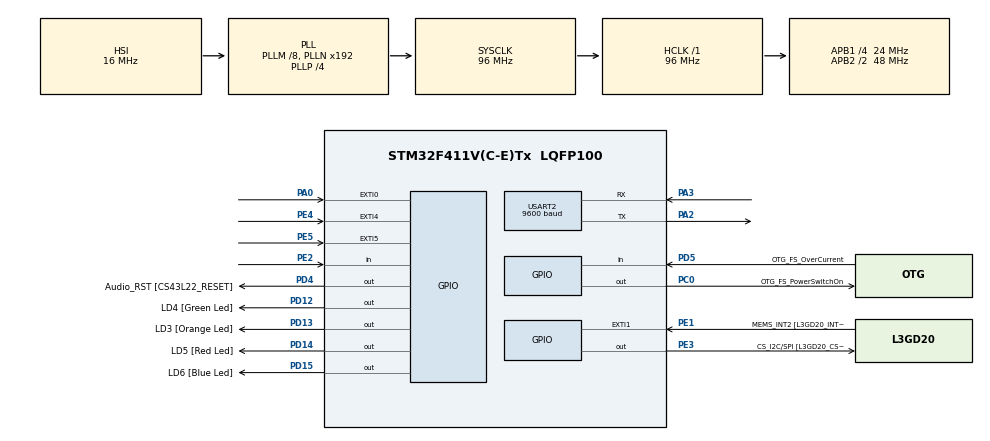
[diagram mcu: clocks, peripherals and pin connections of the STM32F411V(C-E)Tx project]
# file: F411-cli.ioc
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Mcu.Family=STM32F4
Mcu.Name=STM32F411V(C-E)Tx
Mcu.Package=LQFP100
NVIC.PriorityGroup=NVIC_PRIORITYGROUP_0
NVIC.USART2_IRQn=true\:0\:0\:false\:false\:true\:true\:true\:true
PA0-WKUP.GPIO_ModeDefaultEXTI=GPIO_MODE_EVT_RISING
PA0-WKUP.Signal=GPXTI0
PA10.GPIO_Label=OTG_FS_ID
PA10.Signal=USB_OTG_FS_ID
PA11.GPIO_Label=OTG_FS_DM
PA11.Signal=USB_OTG_FS_DM
PA12.GPIO_Label=OTG_FS_DP
PA12.Signal=USB_OTG_FS_DP
PA13.GPIO_Label=SWDIO
PA13.Signal=SYS_JTMS-SWDIO
PA14.GPIO_Label=SWCLK
PA14.Signal=SYS_JTCK-SWCLK
PA2.Mode=Asynchronous
PA2.Signal=USART2_TX
PA3.Mode=Asynchronous
PA3.Signal=USART2_RX
PA4.GPIO_Label=I2S3_WS [CS43L22_LRCK]
PA4.GPIO_Mode=GPIO_MODE_AF_PP
PA4.GPIO_PuPd=GPIO_NOPULL
PA4.GPIO_Speed=GPIO_SPEED_FREQ_LOW
PA4.Signal=I2S3_WS
PA5.GPIO_Label=SPI1_SCK [L3GD20_SC/SPC]
PA5.Signal=SPI1_SCK
PA6.GPIO_Label=SPI1_MISO [L3GD20_AS0/SDO]
PA6.Signal=SPI1_MISO
PA7.GPIO_Label=SPI1_MOSI [L3GD20_SDA/SDI/SDO]
PA7.Signal=SPI1_MOSI
PA9.GPIO_Label=VBUS_FS
PA9.Signal=USB_OTG_FS_VBUS
PB10.GPIO_Label=CLK_IN [MP45DT02_CLK]
PB10.Signal=I2S2_CK
PB12.Signal=I2S2_WS
PB3.GPIO_Label=SWO
PB3.Signal=SYS_JTDO-SWO
PB6.GPIO_Label=Audio_SCL [CS43L22_SCL]
PB6.GPIO_Mode=GPIO_MODE_AF_OD
PB6.GPIO_PuPd=GPIO_NOPULL
PB6.GPIO_Speed=GPIO_SPEED_FREQ_LOW
PB6.Signal=I2C1_SCL
PB9.GPIO_Label=Audio_SDA [CS43L22_SDA]
PB9.GPIO_Mode=GPIO_MODE_AF_OD
PB9.GPIO_PuPd=GPIO_NOPULL
PB9.GPIO_Speed=GPIO_SPEED_FREQ_LOW
PB9.Signal=I2C1_SDA
PC0.GPIO_Label=OTG_FS_PowerSwitchOn
PC0.PinState=GPIO_PIN_SET
PC0.Signal=GPIO_Output
PC10.GPIO_Label=I2S3_SCK [CS43L22_SCLK]
PC10.GPIO_Mode=GPIO_MODE_AF_PP
PC10.GPIO_PuPd=GPIO_NOPULL
PC10.GPIO_Speed=GPIO_SPEED_FREQ_LOW
PC10.Signal=I2S3_CK
PC12.GPIO_Label=I2S3_SD [CS43L22_SDIN]
PC12.GPIO_Mode=GPIO_MODE_AF_PP
PC12.GPIO_PuPd=GPIO_NOPULL
PC12.GPIO_Speed=GPIO_SPEED_FREQ_LOW
PC12.Signal=I2S3_SD
PC14-OSC32_IN.GPIO_Label=PC14-OSC32_IN
PC14-OSC32_IN.Signal=RCC_OSC32_IN
PC15-OSC32_OUT.GPIO_Label=PC15-OSC32_OUT
PC15-OSC32_OUT.Signal=RCC_OSC32_OUT
PC3.GPIO_Label=PDM_OUT [MP45DT02_DOUT]
PC3.Signal=I2S2_SD
PC7.GPIO_Label=I2S3_MCK [CS43L22_MCLK]
PC7.GPIO_Mode=GPIO_MODE_AF_PP
PC7.GPIO_PuPd=GPIO_NOPULL
PC7.GPIO_Speed=GPIO_SPEED_FREQ_LOW
PC7.Signal=I2S3_MCK
PD12.GPIO_Label=LD4 [Green Led]
PD12.GPIO_PuPd=GPIO_NOPULL
PD12.GPIO_Speed=GPIO_SPEED_FREQ_LOW
PD12.Signal=GPIO_Output
PD13.GPIO_Label=LD3 [Orange Led]
PD13.GPIO_PuPd=GPIO_NOPULL
PD13.GPIO_Speed=GPIO_SPEED_FREQ_LOW
PD13.Signal=GPIO_Output
PD14.GPIO_Label=LD5 [Red Led]
PD14.GPIO_PuPd=GPIO_NOPULL
PD14.GPIO_Speed=GPIO_SPEED_FREQ_LOW
PD14.Signal=GPIO_Output
PD15.GPIO_Label=LD6 [Blue Led]
PD15.GPIO_PuPd=GPIO_NOPULL
PD15.GPIO_Speed=GPIO_SPEED_FREQ_LOW
PD15.Signal=GPIO_Output
PD4.GPIO_Label=Audio_RST [CS43L22_RESET]
PD4.Signal=GPIO_Output
PD5.GPIO_Label=OTG_FS_OverCurrent
PD5.Signal=GPIO_Input
PE1.GPIO_Label=MEMS_INT2 [L3GD20_INT2]
PE1.GPIO_ModeDefaultEXTI=GPIO_MODE_EVT_RISING
PE1.Signal=GPXTI1
PE2.Signal=GPIO_Input
PE3.GPIO_Label=CS_I2C/SPI [L3GD20_CS_I2C/SPI]
PE3.Signal=GPIO_Output
PE4.GPIO_ModeDefaultEXTI=GPIO_MODE_EVT_RISING
PE4.Signal=GPXTI4
PE5.GPIO_ModeDefaultEXTI=GPIO_MODE_EVT_RISING
PE5.Signal=GPXTI5
PH0\ -\ OSC_IN.GPIO_Label=PH0-OSC_IN
PH0\ -\ OSC_IN.Signal=RCC_OSC_IN
PH1\ -\ OSC_OUT.GPIO_Label=PH1-OSC_OUT
PH1\ -\ OSC_OUT.Signal=RCC_OSC_OUT
ProjectManager.HeapSize=0x200
ProjectManager.StackSize=0x400
ProjectManager.TargetToolchain=STM32CubeIDE
RCC.48MHZClocksFreq_Value=48000000
RCC.AHBFreq_Value=96000000
RCC.APB1CLKDivider=RCC_HCLK_DIV4
RCC.APB1Freq_Value=24000000
RCC.APB1TimFreq_Value=48000000
RCC.APB2CLKDivider=RCC_HCLK_DIV2
RCC.APB2Freq_Value=48000000
RCC.APB2TimFreq_Value=96000000
RCC.CortexFreq_Value=96000000
RCC.HCLKFreq_Value=96000000
RCC.HSE_VALUE=8000000
RCC.HSI_VALUE=16000000
RCC.LSE_VALUE=32768
RCC.PLLI2SM=5
RCC.PLLI2SN=200
RCC.PLLM=8
RCC.PLLP=RCC_PLLP_DIV4
RCC.PLLQ=8
RCC.SYSCLKFreq_VALUE=96000000
RCC.SYSCLKSource=RCC_SYSCLKSOURCE_PLLCLK
RCC.VCOOutputFreq_Value=384000000
USART2.BaudRate=9600
USART2.VirtualMode=VM_ASYNC
board=STM32F411E-DISCO

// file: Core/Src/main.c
/* USER CODE BEGIN Header */
/**
  ******************************************************************************
  * @file           : main.c
  * @brief          : Main program body
  ******************************************************************************
  * @attention
  *
  * Copyright (c) 2022 STMicroelectronics.
  * All rights reserved.
  *
  * This software is licensed under terms that can be found in the LICENSE file
  * in the root directory of this software component.
  * If no LICENSE file comes with this software, it is provided AS-IS.
  *
  ******************************************************************************
  */
/* USER CODE END Header */
#include "main.h"
#include "usart.h"
#include "gpio.h"

/* USER CODE BEGIN Includes */
#include "input_buf.h"
#include "console.h"
#include <stdbool.h>
/* USER CODE END Includes */

/* USER CODE BEGIN PV */
uint8_t uart_byte_buf[1];
input_buf uart_buf;
char c;
bool echo;
char buf[20];
extern char mReceiveBuffer[256]; // should be CONSOLE_COMMAND_MAX_LENGTH, but it's in consoleCommands.h
extern uint32_t mReceivedSoFar;
/* USER CODE END PV */

void SystemClock_Config(void);

/* USER CODE BEGIN 0 */

// uart interrupt callback
// huart2 defined in usart.c, generated from cubemx
void HAL_UART_RxCpltCallback(UART_HandleTypeDef *huart) {
	c = uart_byte_buf[0];
	echo = true;
	input_buf_add(&uart_buf, uart_byte_buf[0]);
	HAL_UART_Receive_IT(&huart2, uart_byte_buf, 1);
}

/* USER CODE END 0 */

int main(void)
{

  /* MCU Configuration--------------------------------------------------------*/

  /* Reset of all peripherals, Initializes the Flash interface and the Systick. */
  HAL_Init();

  /* Configure the system clock */
  SystemClock_Config();

  /* Initialize all configured peripherals */
  MX_GPIO_Init();
  MX_USART2_UART_Init();
  /* USER CODE BEGIN 2 */
  ConsoleInit();
  input_buf_reset(&uart_buf);
  HAL_UART_Receive_IT(&huart2, uart_byte_buf, 1);
  /* USER CODE END 2 */

  /* Infinite loop */
  /* USER CODE BEGIN WHILE */
  while (1)
  {

  	if(echo) {
			sprintf((char*)buf, "%c", c);
  		HAL_UART_Transmit(&huart2, buf, 1, HAL_MAX_DELAY);
  		echo = false;
  	}

  	if(input_buf_ready(&uart_buf)) {
  		sprintf((char*)buf, "\r\n", c);
  		HAL_UART_Transmit(&huart2, buf, 2, HAL_MAX_DELAY);
			ConsoleProcess();
			input_buf_reset(&uart_buf);
			// unsure why console.c doesn't clear, so let's clear it here
			for(uint16_t i=0; i<256; i++) { // should be CONSOLE_COMMAND_MAX_LENGTH, but it's in consoleCommands.h
				mReceiveBuffer[i] = 0;
			}
			mReceivedSoFar = 0;
		}

    /* USER CODE END WHILE */

  }
}

void SystemClock_Config(void)
{
  RCC_OscInitTypeDef RCC_OscInitStruct = {0};
  RCC_ClkInitTypeDef RCC_ClkInitStruct = {0};

  /** Configure the main internal regulator output voltage
  */
  __HAL_RCC_PWR_CLK_ENABLE();
  __HAL_PWR_VOLTAGESCALING_CONFIG(PWR_REGULATOR_VOLTAGE_SCALE1);

  /** Initializes the RCC Oscillators according to the specified parameters
  * in the RCC_OscInitTypeDef structure.
  */
  RCC_OscInitStruct.OscillatorType = RCC_OSCILLATORTYPE_HSI;
  RCC_OscInitStruct.HSIState = RCC_HSI_ON;
  RCC_OscInitStruct.HSICalibrationValue = RCC_HSICALIBRATION_DEFAULT;
  RCC_OscInitStruct.PLL.PLLState = RCC_PLL_ON;
  RCC_OscInitStruct.PLL.PLLSource = RCC_PLLSOURCE_HSI;
  RCC_OscInitStruct.PLL.PLLM = 8;
  RCC_OscInitStruct.PLL.PLLN = 192;
  RCC_OscInitStruct.PLL.PLLP = RCC_PLLP_DIV4;
  RCC_OscInitStruct.PLL.PLLQ = 8;
  if (HAL_RCC_OscConfig(&RCC_OscInitStruct) != HAL_OK)
  {
    Error_Handler();
  }

  /** Initializes the CPU, AHB and APB buses clocks
  */
  RCC_ClkInitStruct.ClockType = RCC_CLOCKTYPE_HCLK|RCC_CLOCKTYPE_SYSCLK
                              |RCC_CLOCKTYPE_PCLK1|RCC_CLOCKTYPE_PCLK2;
  RCC_ClkInitStruct.SYSCLKSource = RCC_SYSCLKSOURCE_PLLCLK;
  RCC_ClkInitStruct.AHBCLKDivider = RCC_SYSCLK_DIV1;
  RCC_ClkInitStruct.APB1CLKDivider = RCC_HCLK_DIV4;
  RCC_ClkInitStruct.APB2CLKDivider = RCC_HCLK_DIV2;

  if (HAL_RCC_ClockConfig(&RCC_ClkInitStruct, FLASH_LATENCY_3) != HAL_OK)
  {
    Error_Handler();
  }
}

void Error_Handler(void)
{
  __disable_irq();
  while (1)
  {
  }
}
